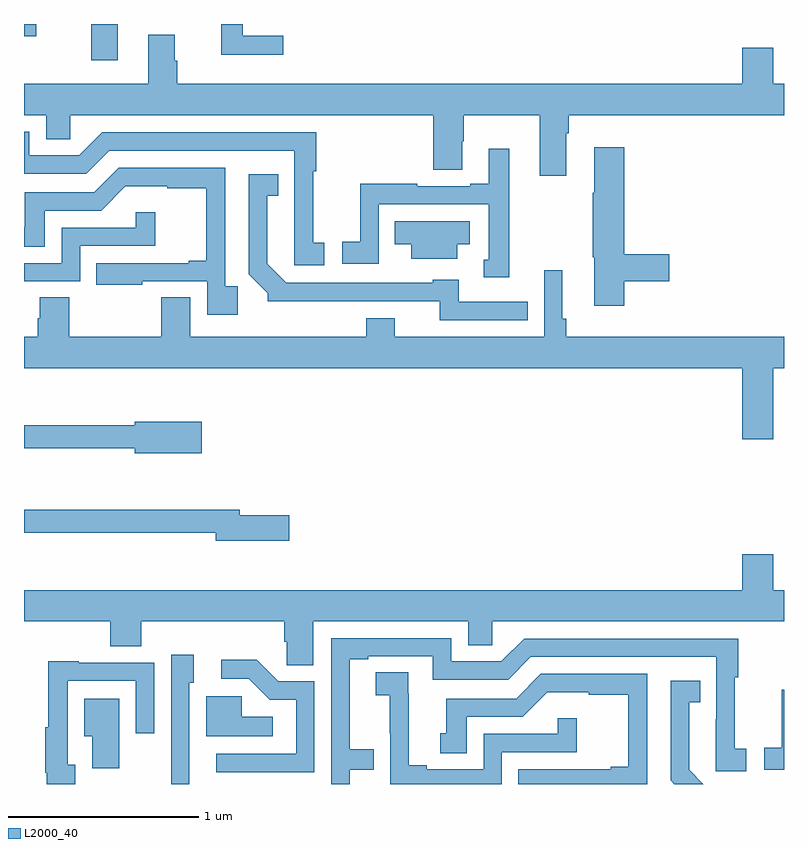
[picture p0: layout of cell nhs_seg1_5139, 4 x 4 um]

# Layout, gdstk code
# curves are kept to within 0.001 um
import gdstk
lib = gdstk.Library(unit=1e-6, precision=1e-09)
def R(c, l, rs):  # rectangles x0, y0, x1, y1
    for r in rs: c.add(gdstk.rectangle(r[:2], r[2:], *l))
def P(c, l, *ps):  # polygons
    for p in ps: c.add(gdstk.Polygon(p, *l))
L2000_40 = (2000, 40)

nhs_seg1_5139 = lib.new_cell('nhs_seg1_5139')
R(nhs_seg1_5139, L2000_40, [(389.353,564.009,389.494,564.199), (389,564.135,389.064,564.199)])
P(nhs_seg1_5139, L2000_40, [(390.364,564.136),(390.151,564.136),(390.151,564.199),(390.039,564.199),(390.039,564.038),(390.364,564.038)],
  [(391.855,563.624),(391.868,563.624),(391.868,563.72),(393,563.72),(393,563.884),(392.944,563.884),(392.944,564.073),(392.78,564.073),(392.78,563.884),(389.807,563.884),(389.807,564.005),(389.794,564.005),(389.794,564.142),(389.654,564.142),(389.654,563.884),(389,563.884),(389,563.72),(389.117,563.72),(389.117,563.593),(389.244,563.593),(389.244,563.72),(391.154,563.72),(391.154,563.431),(391.306,563.431),(391.306,563.582),(391.314,563.582),(391.314,563.72),(391.715,563.72),(391.715,563.4),(391.855,563.4)],
  [(390.58,563.049),(390.522,563.049),(390.522,563.425),(390.539,563.425),(390.539,563.628),(389.412,563.628),(389.292,563.508),(389.028,563.508),(389.028,563.631),(389,563.631),(389,563.412),(389.328,563.412),(389.448,563.532),(390.423,563.532),(390.422,562.929),(390.58,562.929)],
  [(392.159,562.846),(392.395,562.846),(392.395,562.988),(392.159,562.988),(392.159,563.551),(392,563.551),(392,563.312),(391.993,563.312),(391.993,562.971),(392,562.971),(392,562.716),(392.159,562.716)],
  [(391.555,563.542),(391.445,563.542),(391.445,563.359),(391.349,563.359),(391.349,563.346),(391.07,563.346),(391.07,563.359),(390.769,563.359),(390.769,563.054),(390.675,563.054),(390.675,562.938),(390.867,562.938),(390.867,563.25),(391.446,563.25),(391.446,562.959),(391.421,562.959),(391.421,562.865),(391.555,562.865)],
  [(390.125,562.819),(390.06,562.819),(390.06,563.442),(389.499,563.442),(389.37,563.313),(389.003,563.313),(389.003,563.13),(389,563.13),(389,563.026),(389.11,563.026),(389.11,563.217),(389.406,563.217),(389.534,563.345),(389.753,563.345),(389.753,563.334),(389.959,563.334),(389.959,562.954),(389.867,562.954),(389.867,562.941),(389.38,562.941),(389.38,562.826),(389.623,562.826),(389.623,562.845),(389.964,562.845),(389.964,562.668),(390.125,562.668)],
  [(391.652,562.737),(391.288,562.737),(391.288,562.852),(391.152,562.852),(391.152,562.836),(390.381,562.836),(390.28,562.937),(390.28,563.294),(390.338,563.294),(390.338,563.407),(390.183,563.407),(390.183,562.882),(390.282,562.783),(390.282,562.739),(391.189,562.74),(391.189,562.641),(391.652,562.641)],
  [(389.295,563.031),(389.69,563.031),(389.69,563.209),(389.589,563.209),(389.589,563.127),(389.199,563.127),(389.199,562.941),(389,562.941),(389,562.845),(389.295,562.845)],
  [(391.279,563.039),(391.345,563.039),(391.345,563.161),(390.952,563.161),(390.952,563.039),(391.037,563.039),(391.037,562.964),(391.279,562.964)],
  [(391.853,562.648),(391.834,562.648),(391.834,562.903),(391.737,562.903),(391.737,562.552),(390.952,562.552),(390.952,562.651),(390.8,562.651),(390.8,562.552),(389.875,562.552),(389.875,562.76),(389.723,562.76),(389.723,562.552),(389.237,562.552),(389.237,562.76),(389.084,562.76),(389.084,562.65),(389.072,562.65),(389.072,562.552),(389,562.552),(389,562.388),(392.78,562.388),(392.78,562.014),(392.944,562.014),(392.944,562.388),(393,562.388),(393,562.552),(391.853,562.552)],
  [(389.935,562.105),(389.582,562.105),(389.582,562.087),(389,562.087),(389,561.966),(389.582,561.966),(389.582,561.94),(389.935,561.94)],
  [(390.397,561.614),(390.136,561.614),(390.136,561.643),(389,561.643),(389,561.522),(390.008,561.522),(390.008,561.479),(390.397,561.479)],
  [(390.523,561.056),(391.337,561.056),(391.337,560.929),(391.464,560.929),(391.464,561.056),(393,561.056),(393,561.22),(392.944,561.22),(392.944,561.409),(392.78,561.409),(392.78,561.22),(389,561.22),(389,561.056),(389.453,561.056),(389.453,560.923),(389.618,560.923),(389.618,561.056),(390.371,561.056),(390.371,560.947),(390.384,560.947),(390.384,560.824),(390.523,560.824)],
  [(390.714,560.274),(390.842,560.274),(390.842,560.383),(390.715,560.383),(390.715,560.856),(390.811,560.856),(390.811,560.871),(391.152,560.871),(391.152,560.748),(391.548,560.748),(391.668,560.868),(392.643,560.868),(392.642,560.265),(392.8,560.265),(392.8,560.385),(392.742,560.385),(392.742,560.761),(392.759,560.761),(392.759,560.964),(391.632,560.964),(391.512,560.844),(391.248,560.844),(391.248,560.967),(390.618,560.967),(390.618,560.199),(390.714,560.199)],
  [(389.871,560.733),(389.893,560.733),(389.893,560.878),(389.775,560.878),(389.775,560.378),(389.774,560.378),(389.774,560.199),(389.871,560.199)],
  [(390.528,560.739),(390.339,560.739),(390.226,560.852),(390.039,560.852),(390.039,560.754),(390.183,560.754),(390.294,560.643),(390.432,560.643),(390.432,560.358),(390.012,560.358),(390.012,560.262),(390.528,560.262)],
  [(389.269,560.301),(389.229,560.301),(389.229,560.742),(389.589,560.742),(389.589,560.466),(389.685,560.466),(389.685,560.838),(389.289,560.838),(389.289,560.845),(389.128,560.845),(389.128,560.499),(389.113,560.499),(389.113,560.257),(389.121,560.257),(389.121,560.199),(389.269,560.199)],
  [(391.515,560.367),(391.91,560.367),(391.91,560.545),(391.809,560.545),(391.809,560.463),(391.419,560.463),(391.419,560.277),(391.12,560.277),(391.12,560.297),(391.024,560.297),(391.024,560.675),(391.022,560.675),(391.022,560.786),(390.852,560.786),(390.852,560.665),(390.926,560.665),(390.926,560.467),(390.927,560.467),(390.927,560.199),(391.515,560.199)],
  [(392.28,560.778),(391.719,560.778),(391.59,560.649),(391.223,560.649),(391.223,560.466),(391.19,560.466),(391.19,560.362),(391.33,560.362),(391.33,560.553),(391.626,560.553),(391.754,560.681),(391.973,560.681),(391.973,560.67),(392.179,560.67),(392.179,560.29),(392.087,560.29),(392.087,560.277),(391.6,560.277),(391.6,560.199),(392.28,560.199)],
  [(392.5,560.273),(392.5,560.63),(392.558,560.63),(392.558,560.743),(392.403,560.743),(392.403,560.218),(392.422,560.199),(392.574,560.199)],
  [(393,560.695),(392.989,560.695),(392.989,560.39),(392.895,560.39),(392.895,560.274),(393,560.274)],
  [(390.31,560.554),(390.147,560.554),(390.147,560.661),(389.96,560.661),(389.96,560.45),(390.31,560.45)],
  [(389.5,560.647),(389.318,560.647),(389.318,560.45),(389.36,560.45),(389.36,560.281),(389.5,560.281)])

lib.write_gds('nhs_seg1_5139.gds')
